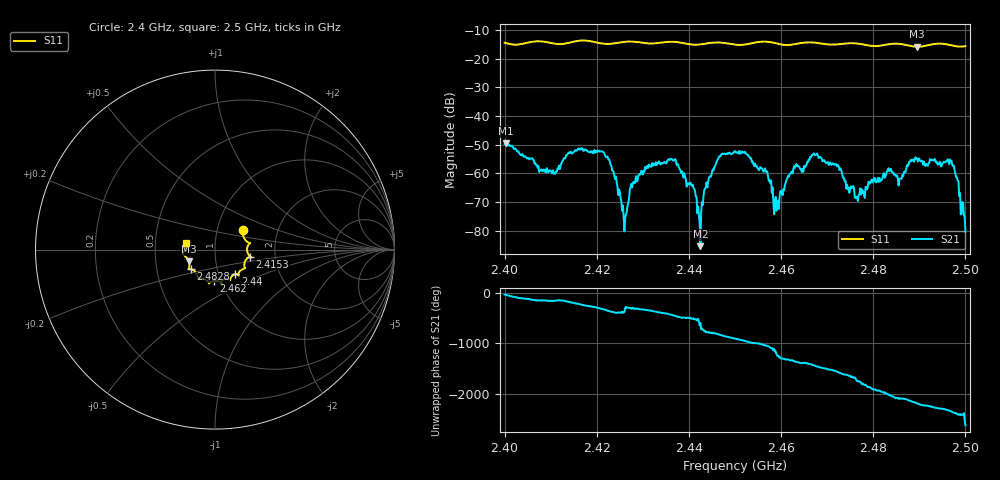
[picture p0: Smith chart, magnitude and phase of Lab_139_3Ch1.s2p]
# Hz S RI R 50
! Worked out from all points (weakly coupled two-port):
!   601 points, 2.4 GHz to 2.5 GHz, reference 50 ohm
!   highest |S21| = -49.55 dB at 2.4003 GHz (marker M1); lowest = -85.4 dB at 2.4425 GHz (marker M2)
!   lowest |S11| = -15.9 dB at 2.4895 GHz (marker M3), VSWR 1.38, Z = 37 - j5.01 ohm
!   |S11| at or under -10 dB: start of sweep to end of sweep
!   S12 and S22 are empty: the file has one direction only
!   S11 on the Smith chart (normalised r, x): 2.4 GHz: 1.33, +0.29; 2.4153 GHz: 1.48, -0.12; 2.44 GHz: 1.21, -0.34; 2.462 GHz: 0.93, -0.33; 2.4828 GHz: 0.74, -0.17; 2.5 GHz: 0.72, +0.06
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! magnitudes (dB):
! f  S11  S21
! 2.4 GHz  -14.5  -49.8
! 2.4003 GHz  -14.6  -49.5
! 2.4107 GHz  -14.8  -60.1
! 2.4153 GHz  -14.0  -51.9
! 2.4167 GHz  -13.7  -51.2
! 2.4223 GHz  -14.9  -54.1
! 2.426 GHz  -14.2  -80.3
! 2.4333 GHz  -14.6  -56.6
! 2.44 GHz  -15.0  -63.6
! 2.4425 GHz  -15.1  -85.4
! 2.4465 GHz  -14.4  -54.3
! 2.45 GHz  -15.1  -52.2
! 2.4567 GHz  -14.1  -59.5
! 2.459 GHz  -14.7  -73.0
! 2.462 GHz  -15.2  -60.2
! 2.4667 GHz  -14.4  -53.6
! 2.4765 GHz  -14.8  -68.2
! 2.4828 GHz  -15.2  -60.2
! 2.4833 GHz  -15.0  -58.3
! 2.4895 GHz  -15.9  -54.9
! 2.4972 GHz  -15.5  -57.2
! 2.5 GHz  -15.7  -80.3
